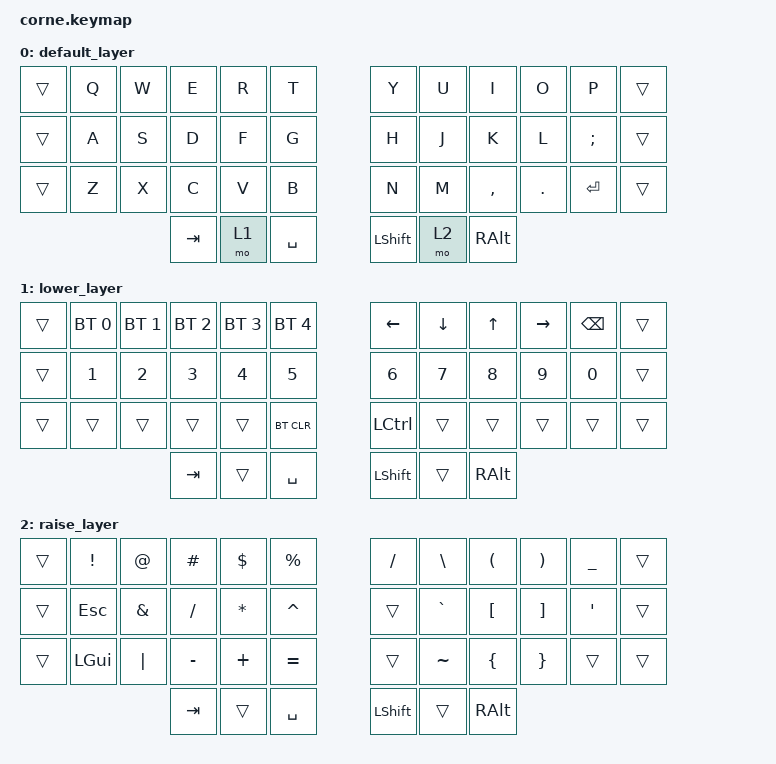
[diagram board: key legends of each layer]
/*
 * Copyright (c) 2020 The ZMK Contributors
 *
 * SPDX-License-Identifier: MIT
 */

#include <behaviors.dtsi>
#include <dt-bindings/zmk/keys.h>
#include <dt-bindings/zmk/bt.h>

/ {
        keymap {
                compatible = "zmk,keymap";

                default_layer {
// -----------------------------------------------------------------------------------------
// |  TAB |  Q  |  W  |  E  |  R  |  T  |   |  Y  |  U   |  I  |  O  |  P  | BKSP |
// | CTRL |  A  |  S  |  D  |  F  |  G  |   |  H  |  J   |  K  |  L  |  ;  |  '   |
// | SHFT |  Z  |  X  |  C  |  V  |  B  |   |  N  |  M   |  ,  |  .  | ENT | ESC  |
//                    | TAB | LWR | SPC |   | SHFT| RSE  | ALT |
                        bindings = <
             &trans &kp Q &kp W &kp E &kp R &kp T   &kp Y &kp U  &kp I     &kp O   &kp P    &trans
             &trans &kp A &kp S &kp D &kp F &kp G   &kp H &kp J  &kp K     &kp L   &kp SEMI &trans
             &trans &kp Z &kp X &kp C &kp V &kp B   &kp N &kp M  &kp COMMA &kp DOT &kp RET  &trans
                  &kp TAB &mo 1 &kp SPACE   &kp LSHFT &mo 2 &kp RALT
                        >;
                };
                lower_layer {
// -----------------------------------------------------------------------------------------
// | BTCLR| BT1 | BT2 | BT3 | BT4 | BT5 |   | LFT | DWN |  UP | RGT | BSPC|      |
// |  TAB |  1  |  2  |  3  |  4  |  5  |   |  6  |  7  |  8  |  9  |  0  | BSPK |
// | SHFT |     |     |     |     |BTCLR|   |LCTRL|     |     |     |     |      |
//                    | TAB |     | SPC |   | SHT |     | ALT |
                        bindings = <
             &trans &bt BT_SEL 0 &bt BT_SEL 1 &bt BT_SEL 2 &bt BT_SEL 3 &bt BT_SEL 4   &kp LEFT &kp DOWN &kp UP &kp RIGHT &kp BSPC  &trans
             &trans &kp N1       &kp N2       &kp N3       &kp N4       &kp N5         &kp N6   &kp N7   &kp N8 &kp N9    &kp N0    &trans
             &trans &trans       &trans       &trans       &trans       &bt BT_CLR     &kp LCTRL   &trans   &trans &trans    &trans &trans
                                    &kp TAB     &trans       &kp SPACE      &kp LSHFT  &trans   &kp RALT
                        >;
                };

                raise_layer {
// -----------------------------------------------------------------------------------------
// |  TAB |  !  |  @  |  #  |  $  |  %  |   |  /  |  \  |  (  |  )  |  _  | BKSP |
// | CTRL | ESC |  &  |  /  |  *  |  ^  |   |     |  `  |  [  |  ]  |  '  |      |
// | SHFT | GUI | "|" |  -  |  +  |  =  |   |     |  ~  |  {  |  }  |     |      |
//                    | TAB |     | SPC |   | SHT |     | ALT |
                        bindings = <
            &trans &kp EXCL  &kp AT   &kp HASH  &kp DLLR  &kp PRCNT    &kp FSLH &kp BSLH  &kp LPAR  &kp RPAR &kp UNDER &trans
            &trans &kp ESC   &kp AMPS &kp FSLH  &kp ASTRK &kp CARET    &trans   &kp GRAVE &kp LBKT  &kp RBKT &kp SQT   &trans
            &trans &kp LGUI  &kp PIPE &kp MINUS &kp PLUS  &kp EQUAL    &trans   &kp TILDE &kp LBRC  &kp RBRC &trans    &trans
                             &kp TAB  &trans    &kp SPACE &kp LSHFT    &trans   &kp RALT
                        >;
                };
        };
};
